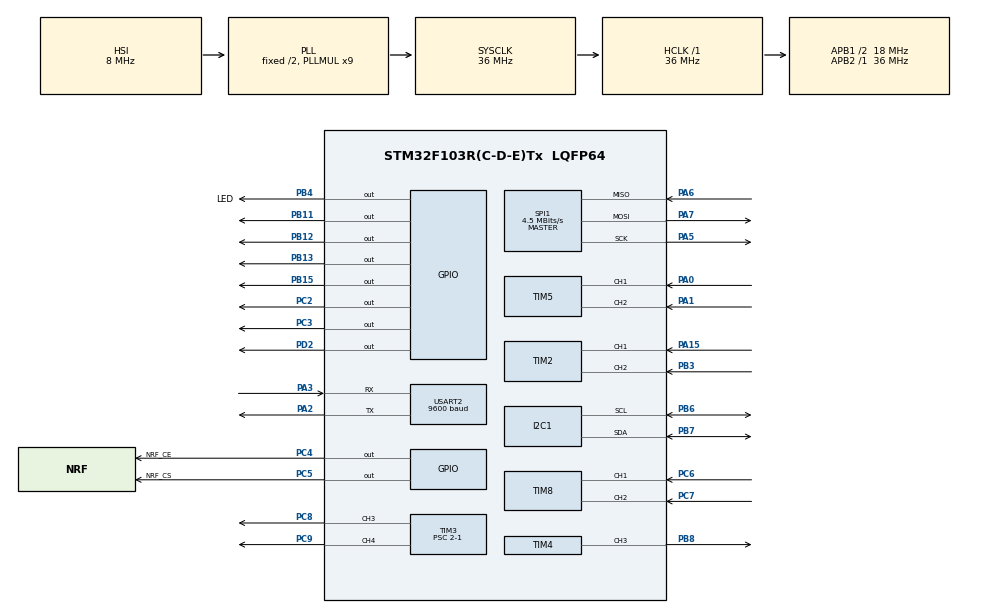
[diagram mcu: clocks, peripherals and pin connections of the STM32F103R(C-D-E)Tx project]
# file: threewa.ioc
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Dma.Request0=USART2_TX
Dma.USART2_TX.0.Direction=DMA_MEMORY_TO_PERIPH
Dma.USART2_TX.0.Instance=DMA1_Channel7
Dma.USART2_TX.0.MemDataAlignment=DMA_MDATAALIGN_BYTE
Dma.USART2_TX.0.MemInc=DMA_MINC_ENABLE
Dma.USART2_TX.0.Mode=DMA_NORMAL
Dma.USART2_TX.0.PeriphDataAlignment=DMA_PDATAALIGN_BYTE
Dma.USART2_TX.0.PeriphInc=DMA_PINC_DISABLE
Dma.USART2_TX.0.Priority=DMA_PRIORITY_LOW
Mcu.Family=STM32F1
Mcu.Name=STM32F103R(C-D-E)Tx
Mcu.Package=LQFP64
NVIC.DMA1_Channel7_IRQn=true\:0\:0\:false\:false\:true\:false\:true\:true
NVIC.PriorityGroup=NVIC_PRIORITYGROUP_4
NVIC.TIM1_UP_IRQn=true\:0\:0\:false\:false\:true\:true\:true\:true
NVIC.USART2_IRQn=true\:0\:0\:false\:false\:true\:true\:true\:true
PA0-WKUP.Signal=S_TIM5_CH1
PA1.Signal=S_TIM5_CH2
PA13.Mode=Serial_Wire
PA13.Signal=SYS_JTMS-SWDIO
PA14.Mode=Serial_Wire
PA14.Signal=SYS_JTCK-SWCLK
PA15.Signal=S_TIM2_CH1_ETR
PA2.Mode=Asynchronous
PA2.Signal=USART2_TX
PA3.Mode=Asynchronous
PA3.Signal=USART2_RX
PA5.Mode=Full_Duplex_Master
PA5.Signal=SPI1_SCK
PA6.Mode=Full_Duplex_Master
PA6.Signal=SPI1_MISO
PA7.Mode=Full_Duplex_Master
PA7.Signal=SPI1_MOSI
PB11.Signal=GPIO_Output
PB12.Signal=GPIO_Output
PB13.Signal=GPIO_Output
PB15.Signal=GPIO_Output
PB3.Signal=S_TIM2_CH2
PB4.GPIO_Label=LED
PB4.PinState=GPIO_PIN_SET
PB4.Signal=GPIO_Output
PB6.Mode=I2C
PB6.Signal=I2C1_SCL
PB7.Mode=I2C
PB7.Signal=I2C1_SDA
PB8.Signal=S_TIM4_CH3
PC2.Signal=GPIO_Output
PC3.Signal=GPIO_Output
PC4.GPIO_Label=NRF_CE
PC4.Signal=GPIO_Output
PC5.GPIO_Label=NRF_CS
PC5.Signal=GPIO_Output
PC6.Signal=S_TIM8_CH1
PC7.Signal=S_TIM8_CH2
PC8.Signal=S_TIM3_CH3
PC9.Signal=S_TIM3_CH4
PD2.Signal=GPIO_Output
ProjectManager.HeapSize=0x2000
ProjectManager.StackSize=0x4000
ProjectManager.TargetToolchain=MDK-ARM V5.32
RCC.AHBFreq_Value=36000000
RCC.APB1CLKDivider=RCC_HCLK_DIV2
RCC.APB1Freq_Value=18000000
RCC.APB1TimFreq_Value=36000000
RCC.APB2Freq_Value=36000000
RCC.APB2TimFreq_Value=36000000
RCC.HCLKFreq_Value=36000000
RCC.PLLMUL=RCC_PLL_MUL9
RCC.SYSCLKFreq_VALUE=36000000
RCC.SYSCLKSource=RCC_SYSCLKSOURCE_PLLCLK
RCC.USBFreq_Value=24000000
RCC.USBPrescaler=RCC_USBCLKSOURCE_PLL_DIV1_5
SH.S_TIM2_CH1_ETR.0=TIM2_CH1,Encoder_Interface
SH.S_TIM2_CH2.0=TIM2_CH2,Encoder_Interface
SH.S_TIM3_CH3.0=TIM3_CH3,PWM Generation3 CH3
SH.S_TIM3_CH4.0=TIM3_CH4,PWM Generation4 CH4
SH.S_TIM4_CH3.0=TIM4_CH3,PWM Generation3 CH3
SH.S_TIM5_CH1.0=TIM5_CH1,Encoder_Interface
SH.S_TIM5_CH2.0=TIM5_CH2,Encoder_Interface
SH.S_TIM8_CH1.0=TIM8_CH1,Encoder_Interface
SH.S_TIM8_CH2.0=TIM8_CH2,Encoder_Interface
SPI1.BaudRatePrescaler=SPI_BAUDRATEPRESCALER_8
SPI1.CalculateBaudRate=4.5 MBits/s
SPI1.Direction=SPI_DIRECTION_2LINES
SPI1.Mode=SPI_MODE_MASTER
SPI1.VirtualType=VM_MASTER
TIM1.AutoReloadPreload=TIM_AUTORELOAD_PRELOAD_ENABLE
TIM1.Period=71
TIM1.Prescaler=9999
TIM2.EncoderMode=TIM_ENCODERMODE_TI12
TIM3.AutoReloadPreload=TIM_AUTORELOAD_PRELOAD_ENABLE
TIM3.Channel-PWM\ Generation3\ CH3=TIM_CHANNEL_3
TIM3.Channel-PWM\ Generation4\ CH4=TIM_CHANNEL_4
TIM3.Period=16800-1
TIM3.Prescaler=2-1
TIM4.AutoReloadPreload=TIM_AUTORELOAD_PRELOAD_ENABLE
TIM4.Channel-PWM\ Generation3\ CH3=TIM_CHANNEL_3
TIM4.Period=16800-1
TIM4.Prescaler=2-1
TIM5.AutoReloadPreload=TIM_AUTORELOAD_PRELOAD_DISABLE
TIM5.EncoderMode=TIM_ENCODERMODE_TI12
TIM8.EncoderMode=TIM_ENCODERMODE_TI12
USART2.BaudRate=9600
USART2.VirtualMode=VM_ASYNC
VP_TIM1_VS_ClockSourceINT.Mode=Internal
board=custom

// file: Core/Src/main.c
/* USER CODE BEGIN Header */
/**
  ******************************************************************************
  * @file           : main.c
  * @brief          : Main program body
  ******************************************************************************
  * @attention
  *
  * Copyright (c) 2025 STMicroelectronics.
  * All rights reserved.
  *
  * This software is licensed under terms that can be found in the LICENSE file
  * in the root directory of this software component.
  * If no LICENSE file comes with this software, it is provided AS-IS.
  *
  ******************************************************************************
  */
/* USER CODE END Header */
#include "main.h"
#include "dma.h"
#include "i2c.h"
#include "spi.h"
#include "tim.h"
#include "usart.h"
#include "gpio.h"

/* USER CODE BEGIN Includes */
#include "LED.h"
#include "MOTOR.h"
#include "MOTOR_COUNTER.H"
#include "MPU9250.h"
#include "MPU6500SPORT.h"
#include "PID_COUNTER.h"
#include "Encoder.h"
#include "NRF.h"
#include "NRF_COUNTER.h"
#include "SPORT.h"
#include "Location.h"
/* USER CODE END Includes */

void SystemClock_Config(void);
/* USER CODE BEGIN PFP */
 #define	GYRO_SCALE 0.06097609f
/* USER CODE END PFP */

/* USER CODE BEGIN 0 */
float SA1=0.0f,SA2=0.0f,SA3=0.0f;
uint8_t recv = 0x00;
int g=0;

 extern  uint8_t Receive[33];
/* USER CODE END 0 */

int main(void)
{

  /* MCU Configuration--------------------------------------------------------*/

  /* Reset of all peripherals, Initializes the Flash interface and the Systick. */
  HAL_Init();

  /* Configure the system clock */
  SystemClock_Config();

  /* Initialize all configured peripherals */
  MX_GPIO_Init();
  MX_DMA_Init();
  MX_I2C1_Init();
  MX_SPI1_Init();
  MX_TIM2_Init();
  MX_TIM5_Init();
  MX_TIM8_Init();
  MX_TIM3_Init();
  MX_USART2_UART_Init();
  MX_TIM4_Init();
  MX_TIM1_Init();
  /* USER CODE BEGIN 2 */
  MOTOR_Init();
  Mpu6050_init();
 MOTOR_Init();
  NRF_BUFFER_Init();
  Encoder_Init();
  MPU6500_DATA_INIT();

    HAL_TIM_Base_Start_IT(&htim1);

	while(NRF24L01_Check())
	{
 		HAL_Delay(1000);
	}

   NRF24L01_RX_Mode();//设置为发送模式
  /* USER CODE END 2 */

  /* Infinite loop */
  /* USER CODE BEGIN WHILE */
  HAL_Delay(1000);
  while (1)
  {
    /* USER CODE END WHILE */

    /* USER CODE BEGIN 3 */

    if(NRF24L01_RxPacket(Receive)==0)
    {
      Receive[32]=0;//加入字符串结束符

    }

   // HAL_Delay(500);
    // LED_ON();
   // Read_Accel_Data(&SA1,&SA2,&SA3);
     LED_ON();

   // MOTOR_SPORT(5000,90);
  //MOTOR_SPORT_fnort(5000);           ��
  }
  /* USER CODE END 3 */
}

void SystemClock_Config(void)
{
  RCC_OscInitTypeDef RCC_OscInitStruct = {0};
  RCC_ClkInitTypeDef RCC_ClkInitStruct = {0};

  /** Initializes the RCC Oscillators according to the specified parameters
  * in the RCC_OscInitTypeDef structure.
  */
  RCC_OscInitStruct.OscillatorType = RCC_OSCILLATORTYPE_HSI;
  RCC_OscInitStruct.HSIState = RCC_HSI_ON;
  RCC_OscInitStruct.HSICalibrationValue = RCC_HSICALIBRATION_DEFAULT;
  RCC_OscInitStruct.PLL.PLLState = RCC_PLL_ON;
  RCC_OscInitStruct.PLL.PLLSource = RCC_PLLSOURCE_HSI_DIV2;
  RCC_OscInitStruct.PLL.PLLMUL = RCC_PLL_MUL9;
  if (HAL_RCC_OscConfig(&RCC_OscInitStruct) != HAL_OK)
  {
    Error_Handler();
  }

  /** Initializes the CPU, AHB and APB buses clocks
  */
  RCC_ClkInitStruct.ClockType = RCC_CLOCKTYPE_HCLK|RCC_CLOCKTYPE_SYSCLK
                              |RCC_CLOCKTYPE_PCLK1|RCC_CLOCKTYPE_PCLK2;
  RCC_ClkInitStruct.SYSCLKSource = RCC_SYSCLKSOURCE_PLLCLK;
  RCC_ClkInitStruct.AHBCLKDivider = RCC_SYSCLK_DIV1;
  RCC_ClkInitStruct.APB1CLKDivider = RCC_HCLK_DIV2;
  RCC_ClkInitStruct.APB2CLKDivider = RCC_HCLK_DIV1;

  if (HAL_RCC_ClockConfig(&RCC_ClkInitStruct, FLASH_LATENCY_1) != HAL_OK)
  {
    Error_Handler();
  }
}

/* USER CODE BEGIN 4 */
 int tim1=0;
 float sa1=0,sa2=0,sa3=0;
extern mpu6500 mpu6500_Data;
uint8_t  sa_buf[10];
extern int16_t gz;
//extern float sa_x=0.0f,sa_y=0.0f;
void HAL_TIM_PeriodElapsedCallback(TIM_HandleTypeDef *htim){
	if(htim == &htim1)  //判断中断是否来自于定时器1
   {
		g++;
		tim1++;
	  MPU6500_READ();
			  X_Y_count(&SA1,&SA2);

  if(tim1%2==1){sprintf((char *)sa_buf,"x%f",SA1);
	 HAL_UART_Transmit_DMA(&huart2,sa_buf,4);}
  if(tim1%2==0){sprintf((char *)sa_buf,"y%f",SA2);
	 HAL_UART_Transmit_DMA(&huart2,sa_buf,4);}

	 //NRF_sport_Right();
        if(g>=60)
		{
			//turn_sport_pid(4000,30,12000);
			SPORT();

			//YAW_PID(12000,70);
		//TURN_PID(-35,4000,4000,4000);
		}
	    //vz=(float)((float)gz-12)*0.005f;

   }
}
/* USER CODE END 4 */

void Error_Handler(void)
{
  __disable_irq();
  while (1)
  {
  }
}
